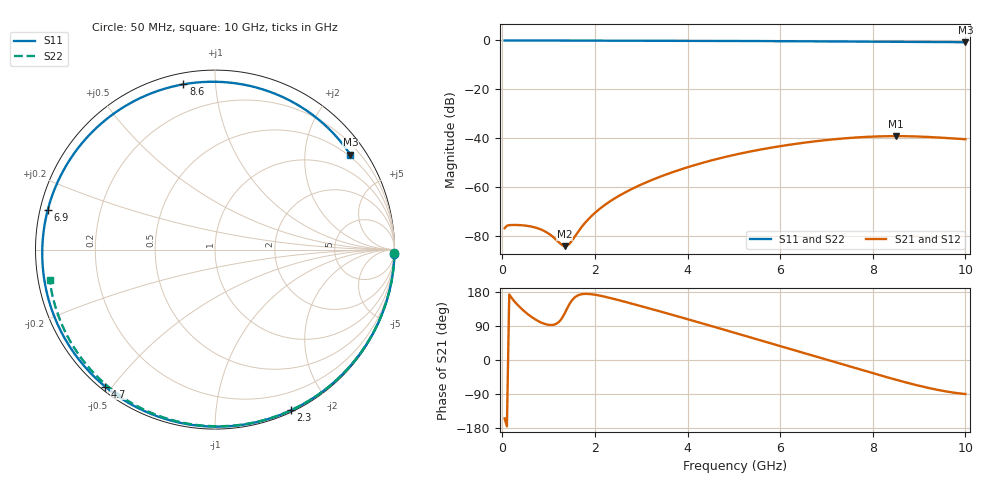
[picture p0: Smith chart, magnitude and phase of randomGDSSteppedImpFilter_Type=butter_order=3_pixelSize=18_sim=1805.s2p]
! freq	dB(S11)	phase(S11)	dB(S12)	phase(S12)
!  dB(S21)	phase(S21)	dB(S22)	phase(S22)
!S-par simulation data
#  GHz  S  DB  R 50
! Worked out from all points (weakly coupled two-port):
!   200 points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, 50 MHz to 10 GHz, reference 50 ohm
!   highest |S21| = -39.21 dB at 8.5 GHz (marker M1); lowest = -84.3 dB at 1.35 GHz (marker M2)
!   lowest |S11| = -0.7 dB at 10 GHz (marker M3), VSWR 24.35, Z = 22.3 + j156 ohm
!   |S11| at or under -10 dB: nowhere
!   |S22| runs from -0.6 to 0.0 dB; largest |S21 - S12| = 0
!   S11 on the Smith chart (normalised r, x): 50 MHz: 0, -79; 2.3 GHz: 0.02, -1.58; 4.7 GHz: 0.01, -0.48; 6.9 GHz: 0.02, +0.12; 8.6 GHz: 0.05, +0.83; 10 GHz: 0.45, +3.11
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0.05  -0.00 -1.4  -76.95 -154.1  -76.95 -154.1  -0.00 -1.0
0.15  -0.00 -4.3  -75.69 173.1  -75.69 173.1  -0.00 -2.9
0.5  -0.01 -14.4  -75.87 126.0  -75.87 126.0  -0.01 -9.6
0.8  -0.02 -22.9  -77.20 101.1  -77.20 101.1  -0.02 -15.3
1.05  -0.04 -30.0  -79.81 92.3  -79.81 92.3  -0.02 -20.0
1.35  -0.05 -38.4  -84.30 123.7  -84.30 123.7  -0.03 -25.7
1.55  -0.06 -44.0  -80.78 163.7  -80.78 163.7  -0.04 -29.4
1.75  -0.06 -49.5  -75.57 174.2  -75.57 174.2  -0.04 -33.1
2.3  -0.08 -64.6  -66.27 164.5  -66.27 164.5  -0.06 -43.2
3.4  -0.12 -94.1  -55.90 128.5  -55.90 128.5  -0.08 -62.8
4.05  -0.15 -111.4  -51.67 106.1  -51.67 106.1  -0.10 -73.9
4.7  -0.19 -128.7  -48.27 83.1  -48.27 83.1  -0.13 -84.8
5.05  -0.21 -138.2  -46.71 70.6  -46.71 70.6  -0.14 -90.5
5.9  -0.28 -162.2  -43.63 40.3  -43.63 40.3  -0.18 -104.2
6.7  -0.36 173.2  -41.46 11.8  -41.46 11.8  -0.23 -116.8
6.9  -0.38 166.6  -41.02 4.7  -41.02 4.7  -0.24 -119.9
7.6  -0.45 141.8  -39.81 -20.4  -39.81 -20.4  -0.30 -130.8
8.35  -0.53 111.7  -39.23 -46.9  -39.23 -46.9  -0.37 -142.5
8.5  -0.55 105.2  -39.21 -52.0  -39.21 -52.0  -0.38 -144.9
8.6  -0.56 100.8  -39.22 -55.4  -39.22 -55.4  -0.39 -146.5
9.3  -0.63 68.6  -39.65 -76.3  -39.65 -76.3  -0.48 -157.7
10  -0.71 35.0  -40.47 -89.7  -40.47 -89.7  -0.57 -169.4
